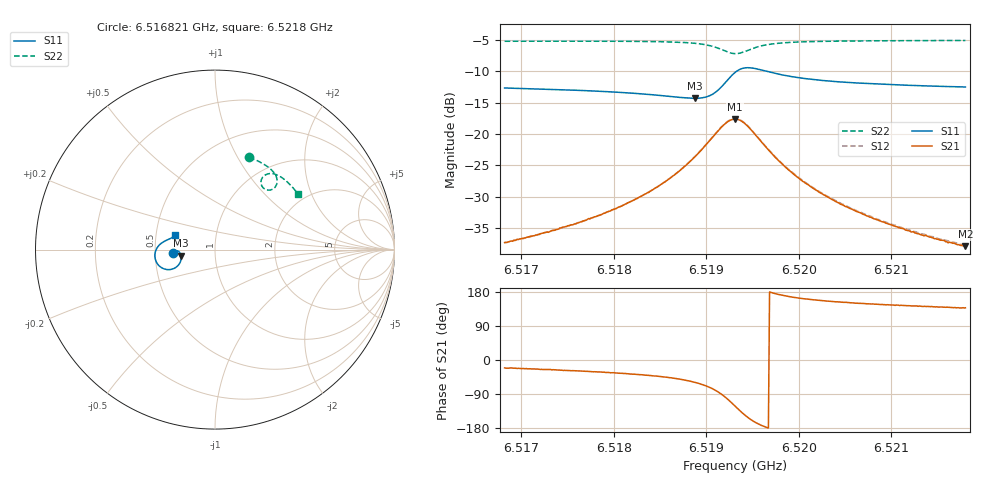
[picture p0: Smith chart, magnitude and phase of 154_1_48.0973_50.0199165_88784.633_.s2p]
#  HZ  S  RI  R  50.00
! Rohde & Schwarz Vector Network Analyzer
! Rohde-Schwarz,ZNB20-2Port,1311601062101988,3.16
! Created: UTC 12/23/2023, 3:50:05 AM
! freq[Hz]  re:S11  im:S11  re:S21  im:S21  re:S12  im:S12  re:S22  im:S22
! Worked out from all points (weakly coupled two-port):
!   401 points, 6.516821 GHz to 6.5218 GHz, reference 50 ohm
!   highest |S21| = -17.64 dB at 6.519311 GHz (marker M1); lowest = -37.9 dB at 6.5218 GHz (marker M2)
!   lowest |S11| = -14.3 dB at 6.518875 GHz (marker M3), VSWR 1.48, Z = 34 - j2.43 ohm
!   |S11| at or under -10 dB: start of sweep to 6.519329 GHz; 6.519647 GHz to end of sweep
!   |S22| runs from -7.2 to -5.1 dB; largest |S21 - S12| = 0.0041
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6.5168214e9  -0.2315 -0.0204  0.0127 -0.00485  0.0127 -0.0044  0.1906 0.5137
6.5172943e9  -0.2267 -0.0133  0.0149 -0.00698  0.0151 -0.00662  0.2258 0.4997
6.5176552e9  -0.2217 -0.00878  0.0174 -0.00969  0.0178 -0.00927  0.2524 0.4868
6.5181033e9  -0.2134 -0.00606  0.022 -0.0157  0.0225 -0.015  0.286 0.4669
6.5184891e9  -0.2027 -0.0097  0.0279 -0.0265  0.0291 -0.0255  0.3158 0.4431
6.5186882e9  -0.1955 -0.0177  0.0318 -0.0375  0.0332 -0.0365  0.3312 0.4252
6.5188749e9  -0.1891 -0.0344  0.034 -0.056  0.0359 -0.0551  0.3434 0.4011
6.5189869e9  -0.1887 -0.0527  0.031 -0.074  0.0336 -0.0735  0.3465 0.3806
6.519074e9  -0.1951 -0.0733  0.0221 -0.0927  0.0249 -0.0927  0.3423 0.3608
6.5192109e9  -0.2355 -0.1077  -0.0194 -0.1202  -0.0159 -0.1217  0.312 0.333
6.5192607e9  -0.2622 -0.1116  -0.0438 -0.121  -0.0406 -0.1232  0.2932 0.3318
6.5193105e9  -0.2906 -0.1045  -0.0687 -0.1119  -0.0658 -0.1148  0.2746 0.3392
6.5193603e9  -0.3146 -0.0871  -0.0881 -0.0941  -0.086 -0.0973  0.2612 0.3541
6.5194225e9  -0.3317 -0.057  -0.1 -0.0662  -0.0988 -0.0696  0.256 0.3769
6.5195345e9  -0.3312 -0.0089  -0.0945 -0.025  -0.0945 -0.0282  0.2701 0.4081
6.5196465e9  -0.3158 0.0195  -0.0782 -0.00349  -0.0786 -0.00568  0.2924 0.4211
6.519883e9  -0.2862 0.0439  -0.0509 0.011  -0.0518 0.00969  0.3309 0.421
6.5201444e9  -0.2666 0.0533  -0.0349 0.0132  -0.0356 0.0124  0.3597 0.4091
6.5204804e9  -0.2518 0.06  -0.0239 0.0126  -0.0246 0.0121  0.387 0.3905
6.5209782e9  -0.2381 0.0675  -0.0157 0.0108  -0.0162 0.0105  0.4189 0.3614
6.5213267e9  -0.2311 0.0723  -0.0123 0.00974  -0.0128 0.0095  0.4381 0.3403
6.5217996e9  -0.2232 0.0789  -0.00943 0.00855  -0.00981 0.00849  0.461 0.3111
